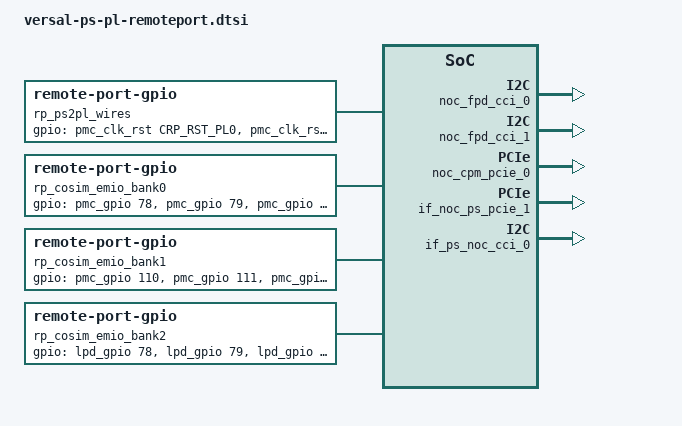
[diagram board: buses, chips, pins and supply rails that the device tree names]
/*
 * Versal PS PL interfaces.
 *
 * Copyright (C) 2016-2022, Xilinx, Inc.
 * Copyright (C) 2023, Advanced Micro Devices, Inc.
 * All rights reserved.
 *
 * Redistribution and use in source and binary forms, with or without
 * modification, are permitted provided that the following conditions are met:
 *     * Redistributions of source code must retain the above copyright
 *       notice, this list of conditions and the following disclaimer.
 *     * Redistributions in binary form must reproduce the above copyright
 *       notice, this list of conditions and the following disclaimer in the
 *       documentation and/or other materials provided with the distribution.
 *     * Neither the name of the <organization> nor the
 *       names of its contributors may be used to endorse or promote products
 *       derived from this software without specific prior written permission.
 *
 * THIS SOFTWARE IS PROVIDED BY THE COPYRIGHT HOLDERS AND CONTRIBUTORS "AS IS" AND
 * ANY EXPRESS OR IMPLIED WARRANTIES, INCLUDING, BUT NOT LIMITED TO, THE IMPLIED
 * WARRANTIES OF MERCHANTABILITY AND FITNESS FOR A PARTICULAR PURPOSE ARE
 * DISCLAIMED. IN NO EVENT SHALL <COPYRIGHT HOLDER> BE LIABLE FOR ANY
 * DIRECT, INDIRECT, INCIDENTAL, SPECIAL, EXEMPLARY, OR CONSEQUENTIAL DAMAGES
 * (INCLUDING, BUT NOT LIMITED TO, PROCUREMENT OF SUBSTITUTE GOODS OR SERVICES;
 * LOSS OF USE, DATA, OR PROFITS; OR BUSINESS INTERRUPTION) HOWEVER CAUSED AND
 * ON ANY THEORY OF LIABILITY, WHETHER IN CONTRACT, STRICT LIABILITY, OR TORT
 * (INCLUDING NEGLIGENCE OR OTHERWISE) ARISING IN ANY WAY OUT OF THE USE OF THIS
 * SOFTWARE, EVEN IF ADVISED OF THE POSSIBILITY OF SUCH DAMAGE.
 */

#include "versal.dtsh"

&pmc_tap {
	platform = <PLATFORM_QEMU_COSIM>;
};

&amba {
	cosim_rp_0: cosim@0 {
		compatible = "remote-port";
		sync = <1>;
		chrdev-id = "pl-rp";
	};

	/* This area can be used for implentation specific emulation */
	rp_cosim_reserved: rp_cosim_reserved@0{
		compatible = "remote-port-memory-master";
		remote-ports = <&cosim_rp_0 2>;
		reg = <0x0 0xF5F00000 0x0 0x100000 0>;
	};

	/* FIXME: These PL to PS ports are not fully implemented, we
	 *        need to apply SMMU translation. At least this
	 *        serves to roughly allocate the devids.
	 *        All still subject to change.
	 */
	s_axi_fpd: s_axi_fpd@0 {
		compatible = "remote-port-memory-slave";
		remote-ports = <&cosim_rp_0 10>;
		mr = <&smmu_tbu5>;
	};

	/* DevID 11 reserved for s_axi_gp_1.  */

	s_axi_gp_2: s_axi_gp_2@0 {
		compatible = "remote-port-memory-slave";
		remote-ports = <&cosim_rp_0 12>;
		mr = <&smmu_tbu5>;
	};

	s_axi_lpd: s_axi_lpd@0 {
		compatible = "remote-port-memory-slave";
		remote-ports = <&cosim_rp_0 14>;
		mr = <&smmu_tbu2>;
	};

	/* ACP via APU.  */
	s_acp_fpd: s_acp_fpd@0 {
		compatible = "remote-port-memory-slave";
		remote-ports = <&cosim_rp_0 15>;
		mr = <&amba>;
	};

	s_ace_fpd: s_ace_fpd@0 {
		compatible = "remote-port-memory-slave";
		remote-ports = <&cosim_rp_0 16>;
		mr = <&amba>;
	};

	noc_fpd_axi_0: noc_fpd_axi_0@0 {
		compatible = "remote-port-memory-slave";
		remote-ports = <&cosim_rp_0 17>;
		mr = <&smmu_tbu5>;
	};

	noc_fpd_axi_1: noc_fpd_axi_1@0 {
		compatible = "remote-port-memory-slave";
		remote-ports = <&cosim_rp_0 18>;
		mr = <&smmu_tbu4>;
	};

	noc_fpd_cci_0: noc_fpd_cci_0@0 {
		compatible = "remote-port-memory-slave";
		remote-ports = <&cosim_rp_0 19>;
		mr = <&smmu_tbu2>;
	};

	noc_fpd_cci_1: noc_fpd_cci_1@0 {
		compatible = "remote-port-memory-slave";
		remote-ports = <&cosim_rp_0 20>;
		mr = <&smmu_tbu2>;
	};

	noc_cpm_pcie_0: noc_cpm_pcie_0@0 {
		compatible = "remote-port-memory-slave";
		remote-ports = <&cosim_rp_0 21>;
		mr = <&amba>;
	};

	/* Does not exist */
	if_noc_ps_pcie_1: if_noc_ps_pcie_1@0 {
		compatible = "remote-port-memory-slave";
		remote-ports = <&cosim_rp_0 22>;
		mr = <&amba>;
	};

	noc_pmc_axi_0: noc_pmc_axi_0@0 {
		compatible = "remote-port-memory-slave";
		remote-ports = <&cosim_rp_0 23>;
		mr = <&amba_pmc>;
	};

	s_axi_xram: noc_pmc_axi_0@0 {
		compatible = "remote-port-memory-slave";
		remote-ports = <&cosim_rp_0 24>;
		mr = <&amba_xram>;
	};

	/* AXI ports directly from PS to PL, bypassing NoC.  */
	m_axi_fpd: m_axi_fpd@MM_TOP_FPD_AFI_0 {
		compatible = "remote-port-memory-master";
		remote-ports = <&cosim_rp_0 40>;
		reg = <0x0 MM_TOP_PS_PL_FPD_LowAddr0 0x0 MM_TOP_PS_PL_FPD_LowAddr0_SIZE 0x0
#ifdef MM_TOP_PS_PL_FPD_LowAddr1
		       0x0 MM_TOP_PS_PL_FPD_LowAddr1 0x0 MM_TOP_PS_PL_FPD_LowAddr1_SIZE 0x0
#endif
#ifdef MM_TOP_PS_PL_HighAddr0_L
		       MM_TOP_PS_PL_HighAddr0_H MM_TOP_PS_PL_HighAddr0_L MM_TOP_PS_PL_HighAddr0_SIZE_H MM_TOP_PS_PL_HighAddr0_SIZE_L 0x0
#endif
		       MM_TOP_PS_PL_HighAddr1_H MM_TOP_PS_PL_HighAddr1_L MM_TOP_PS_PL_HighAddr1_SIZE_H MM_TOP_PS_PL_HighAddr1_SIZE_L 0x0>;
		serbs-if = <&intfpd>;
	};

	/* Device ID 41 reserved for m_axi_gp1 in Extended PS.  */

	m_axi_lpd: m_axi_lpd@MM_TOP_LPD_AFI_FS {
		compatible = "remote-port-memory-master";
		remote-ports = <&cosim_rp_0 42>;
		reg = <0x0 MM_TOP_PS_PL_LPD_LowAddr 0x0 MM_TOP_PS_PL_LPD_LowAddr_SIZE 0x0>;
		serbs-if = <&intlpd>;
	};

	cci_mr: cci_mr@0 {
		#address-cells = <2>;
		#size-cells = <2>;
		#priority-cells = <1>;
		compatible = "simple-bus";

		/* IF_PS_NOC_CCI_0 - 3.  ID 50 - 53 */
		if_ps_noc_cci_0: if_ps_noc_cci_0@0 {
			compatible = "remote-port-memory-master";
			remote-ports = <&cosim_rp_0 50>;
			/*
			 * TODO: Verify this list.
			 * Since we don't yet have a model of the CCI, we'll only use PORT 0.
			 * The only ranges we know go on this port are DDR accesses and ME.
			 * Since DDR never goes over I/O (we do direct shared memory acceses)
			 * the only range that get's routed here is the ME.
			 */
			reg = <
				MM_TOP_ME_Programming_H MM_TOP_ME_Programming_L MM_TOP_ME_Programming_SIZE_H MM_TOP_ME_Programming_SIZE_L 0x1
#ifdef MM_TOP_Reserved_2
				0x0 MM_TOP_Reserved_2 0x0 MM_TOP_Reserved_2_SIZE 0x1
#endif
#ifdef MM_TOP_Reserved_3_L
				MM_TOP_Reserved_3_H MM_TOP_Reserved_3_L 0x0 MM_TOP_Reserved_3_SIZE 0x1
#endif
#ifdef MM_TOP_Reserved_4_L
				MM_TOP_Reserved_4_H MM_TOP_Reserved_4_L 0x0 MM_TOP_Reserved_4_SIZE 0x1
#endif
#ifdef MM_TOP_PCIe_region_1_L
				MM_TOP_PCIe_region_1_H MM_TOP_PCIe_region_1_L MM_TOP_PCIe_region_1_SIZE_H MM_TOP_PCIe_region_1_SIZE_L 0x1
#endif
#ifdef MM_TOP_Reserved_9_L
				MM_TOP_Reserved_9_H MM_TOP_Reserved_9_L MM_TOP_Reserved_9_SIZE_H MM_TOP_Reserved_9_SIZE_L 0x1
#endif
#ifdef MM_TOP_Reserved_10_L
				MM_TOP_Reserved_10_H MM_TOP_Reserved_10_L MM_TOP_Reserved_10_SIZE_H MM_TOP_Reserved_10_SIZE_L 0x1
#endif
#ifdef MM_TOP_PL_via_NoC_L
				MM_TOP_PL_via_NoC_H MM_TOP_PL_via_NoC_L MM_TOP_PL_via_NoC_SIZE_H MM_TOP_PL_via_NoC_SIZE_L 0x1
#endif

				0x0 MM_TOP_DDR 0x0 MM_TOP_DDR_SIZE 0x1
				MM_TOP_DDR_2_H MM_TOP_DDR_2_L MM_TOP_DDR_2_SIZE_H MM_TOP_DDR_2_SIZE_L 0x1
				MM_TOP_DDR_3_H MM_TOP_DDR_3_L MM_TOP_DDR_3_SIZE_H MM_TOP_DDR_3_SIZE_L 0x1
				MM_TOP_DDR_4_H MM_TOP_DDR_4_L MM_TOP_DDR_4_SIZE_H MM_TOP_DDR_4_SIZE_L 0x1
				MM_TOP_DDR_CH1_H MM_TOP_DDR_CH1_L MM_TOP_DDR_CH1_SIZE_H MM_TOP_DDR_CH1_SIZE_L 0x1
				MM_TOP_DDR_CH2_H MM_TOP_DDR_CH2_L MM_TOP_DDR_CH2_SIZE_H MM_TOP_DDR_CH2_SIZE_L 0x1
				MM_TOP_DDR_CH3_H MM_TOP_DDR_CH3_L MM_TOP_DDR_CH3_SIZE_H MM_TOP_DDR_CH3_SIZE_L 0x1
			      >;
		};
	};

	/* FPD_AXI_NOC_0 - 1.  ID 54 - 55 */
	/* CPM_PCIE_NOC_0 - 1. ID 56 - 57 */

	noc_lpd_axi_0: noc_lpd_axi_0@0 {
		compatible = "remote-port-memory-master";
		remote-ports = <&cosim_rp_0 58>;
	};

	/* PMC NPI. ID 60  This is allocated for NPI SystemC/RTL models.  */

	/* PL to PS interrupts.  */
	rp_pl2ps_irq: rp_pl2ps_irq@0 {
		compatible = "remote-port-gpio";
		remote-ports = <&cosim_rp_0 80>;
		num-gpios = <16>;
		interrupts = <PL_PS_GRP0_IRQ_0
			      PL_PS_GRP0_IRQ_1
			      PL_PS_GRP0_IRQ_2
			      PL_PS_GRP0_IRQ_3
			      PL_PS_GRP0_IRQ_4
			      PL_PS_GRP0_IRQ_5
			      PL_PS_GRP0_IRQ_6
			      PL_PS_GRP0_IRQ_7
			      PL_PS_GRP1_IRQ_0
			      PL_PS_GRP1_IRQ_1
			      PL_PS_GRP1_IRQ_2
			      PL_PS_GRP1_IRQ_3
			      PL_PS_GRP1_IRQ_4
			      PL_PS_GRP1_IRQ_5
			      PL_PS_GRP1_IRQ_6
			      PL_PS_GRP1_IRQ_7
			      >;
       };

	/* PS to PL interrupts. 81 */
	/* PL to PS wires. 82 */

	/* PS to PL wires. 83 */
	rp_ps2pl_wires: rp_ps2pl_wires@0 {
		compatible = "remote-port-gpio";
		remote-ports = <&cosim_rp_0 83>;
		num-gpios = <4>;
		gpios = < &pmc_clk_rst CRP_RST_PL0
			  &pmc_clk_rst CRP_RST_PL1
			  &pmc_clk_rst CRP_RST_PL2
			  &pmc_clk_rst CRP_RST_PL3
			>;
	};

	/*
	 * GPIO to EMIO:
	 *
	 * GPIO controllers has 3x 26-channels and 3x 32-channels banks.
	 *   - For PMC GPIO Bank3 and Bank4 goes to the PL (EMIO).
	 *	 * GPIO #78 is the first one to be mapped for EMIO0.
	 *	 * GPIO #252 is the first OE signal to be mapped for EMIO0.
	 *	 * GPIO #110 is the first one to be mapped for EMIO1.
	 *	 * GPIO #284 is the first OE signal to be mapped for EMIO1.
	 *   - For LPD GPIO Bank3 goes to the PL (EMIO).
	 *	 * GPIO #78 is the first one to be mapped for EMIO2.
	 *	 * GPIO #252 is the first OE signal to be mapped for EMIO2.
	 */
	rp_cosim_emio_bank0: rp_cosim_emio_bank0 {
		#gpio-cells = <1>;
		compatible = "remote-port-gpio";
		remote-ports = <&cosim_rp_0 95>;
		/* OE signals are taken in account here.  */
		num-gpios = <64>;
		gpios = < &pmc_gpio 78
			  &pmc_gpio 79
			  &pmc_gpio 80
			  &pmc_gpio 81
			  &pmc_gpio 82
			  &pmc_gpio 83
			  &pmc_gpio 84
			  &pmc_gpio 85
			  &pmc_gpio 86
			  &pmc_gpio 87
			  &pmc_gpio 88
			  &pmc_gpio 89
			  &pmc_gpio 90
			  &pmc_gpio 91
			  &pmc_gpio 92
			  &pmc_gpio 93
			  &pmc_gpio 94
			  &pmc_gpio 95
			  &pmc_gpio 96
			  &pmc_gpio 97
			  &pmc_gpio 98
			  &pmc_gpio 99
			  &pmc_gpio 100
			  &pmc_gpio 101
			  &pmc_gpio 102
			  &pmc_gpio 103
			  &pmc_gpio 104
			  &pmc_gpio 105
			  &pmc_gpio 106
			  &pmc_gpio 107
			  &pmc_gpio 108
			  &pmc_gpio 109
			  /* OE signals.  */
			  &pmc_gpio 252
			  &pmc_gpio 253
			  &pmc_gpio 254
			  &pmc_gpio 255
			  &pmc_gpio 256
			  &pmc_gpio 257
			  &pmc_gpio 258
			  &pmc_gpio 259
			  &pmc_gpio 260
			  &pmc_gpio 261
			  &pmc_gpio 262
			  &pmc_gpio 263
			  &pmc_gpio 264
			  &pmc_gpio 265
			  &pmc_gpio 266
			  &pmc_gpio 267
			  &pmc_gpio 268
			  &pmc_gpio 269
			  &pmc_gpio 270
			  &pmc_gpio 271
			  &pmc_gpio 272
			  &pmc_gpio 273
			  &pmc_gpio 274
			  &pmc_gpio 275
			  &pmc_gpio 276
			  &pmc_gpio 277
			  &pmc_gpio 278
			  &pmc_gpio 279
			  &pmc_gpio 280
			  &pmc_gpio 281
			  &pmc_gpio 282
			  &pmc_gpio 283
			  >;
		};

	rp_cosim_emio_bank1: rp_cosim_emio_bank1 {
		#gpio-cells = <1>;
		compatible = "remote-port-gpio";
		remote-ports = <&cosim_rp_0 96>;
		/* OE signals are taken in account here.  */
		num-gpios = <64>;
		gpios = < &pmc_gpio 110
			  &pmc_gpio 111
			  &pmc_gpio 112
			  &pmc_gpio 113
			  &pmc_gpio 114
			  &pmc_gpio 115
			  &pmc_gpio 116
			  &pmc_gpio 117
			  &pmc_gpio 118
			  &pmc_gpio 119
			  &pmc_gpio 120
			  &pmc_gpio 121
			  &pmc_gpio 122
			  &pmc_gpio 123
			  &pmc_gpio 124
			  &pmc_gpio 125
			  &pmc_gpio 126
			  &pmc_gpio 127
			  &pmc_gpio 128
			  &pmc_gpio 129
			  &pmc_gpio 130
			  &pmc_gpio 131
			  &pmc_gpio 132
			  &pmc_gpio 133
			  &pmc_gpio 134
			  &pmc_gpio 135
			  &pmc_gpio 136
			  &pmc_gpio 137
			  &pmc_gpio 138
			  &pmc_gpio 139
			  &pmc_gpio 140
			  &pmc_gpio 141
			  /* OE signals.  */
			  &pmc_gpio 284
			  &pmc_gpio 285
			  &pmc_gpio 286
			  &pmc_gpio 287
			  &pmc_gpio 288
			  &pmc_gpio 289
			  &pmc_gpio 290
			  &pmc_gpio 291
			  &pmc_gpio 292
			  &pmc_gpio 293
			  &pmc_gpio 294
			  &pmc_gpio 295
			  &pmc_gpio 296
			  &pmc_gpio 297
			  &pmc_gpio 298
			  &pmc_gpio 299
			  &pmc_gpio 300
			  &pmc_gpio 301
			  &pmc_gpio 302
			  &pmc_gpio 303
			  &pmc_gpio 304
			  &pmc_gpio 305
			  &pmc_gpio 306
			  &pmc_gpio 307
			  &pmc_gpio 308
			  &pmc_gpio 309
			  &pmc_gpio 310
			  &pmc_gpio 311
			  &pmc_gpio 312
			  &pmc_gpio 313
			  &pmc_gpio 314
			  &pmc_gpio 315
			  >;
		};

	rp_cosim_emio_bank2: rp_cosim_emio_bank2 {
		#gpio-cells = <1>;
		compatible = "remote-port-gpio";
		remote-ports = <&cosim_rp_0 97>;
		/* OE signals are taken in account here.  */
		num-gpios = <64>;
		gpios = < &lpd_gpio 78
			  &lpd_gpio 79
			  &lpd_gpio 80
			  &lpd_gpio 81
			  &lpd_gpio 82
			  &lpd_gpio 83
			  &lpd_gpio 84
			  &lpd_gpio 85
			  &lpd_gpio 86
			  &lpd_gpio 87
			  &lpd_gpio 88
			  &lpd_gpio 89
			  &lpd_gpio 90
			  &lpd_gpio 91
			  &lpd_gpio 92
			  &lpd_gpio 93
			  &lpd_gpio 94
			  &lpd_gpio 95
			  &lpd_gpio 96
			  &lpd_gpio 97
			  &lpd_gpio 98
			  &lpd_gpio 99
			  &lpd_gpio 100
			  &lpd_gpio 101
			  &lpd_gpio 102
			  &lpd_gpio 103
			  &lpd_gpio 104
			  &lpd_gpio 105
			  &lpd_gpio 106
			  &lpd_gpio 107
			  &lpd_gpio 108
			  &lpd_gpio 109
			  /* OE signals.  */
			  &lpd_gpio 252
			  &lpd_gpio 253
			  &lpd_gpio 254
			  &lpd_gpio 255
			  &lpd_gpio 256
			  &lpd_gpio 257
			  &lpd_gpio 258
			  &lpd_gpio 259
			  &lpd_gpio 260
			  &lpd_gpio 261
			  &lpd_gpio 262
			  &lpd_gpio 263
			  &lpd_gpio 264
			  &lpd_gpio 265
			  &lpd_gpio 266
			  &lpd_gpio 267
			  &lpd_gpio 268
			  &lpd_gpio 269
			  &lpd_gpio 270
			  &lpd_gpio 271
			  &lpd_gpio 272
			  &lpd_gpio 273
			  &lpd_gpio 274
			  &lpd_gpio 275
			  &lpd_gpio 276
			  &lpd_gpio 277
			  &lpd_gpio 278
			  &lpd_gpio 279
			  &lpd_gpio 280
			  &lpd_gpio 281
			  &lpd_gpio 282
			  &lpd_gpio 283
			  >;
		};
		rp_npi_irq: rp_npi_irq {
			#gpio-cell = <1>;
			compatible = "remote-port-gpio";
			remote-ports = <&cosim_rp_0 98>;
			num-gpios = <12>;
			interrupts = <  NPI_IRQ_IRQ_0
					NPI_IRQ_IRQ_1
					NPI_IRQ_IRQ_2
					NPI_IRQ_IRQ_3
					NPI_IRQ_IRQ_4
					NPI_IRQ_IRQ_5
					NPI_IRQ_IRQ_6
					NPI_IRQ_IRQ_7
					NPI_IRQ_IRQ_8
					NPI_IRQ_IRQ_9
					NPI_IRQ_IRQ_10
					NPI_IRQ_IRQ_11
			>;
		};
		dummy_mio_map: dummy_mio_map {
			gpio-controller;
			#gpio-cells = <1>;
		};
};

#define MIO(dev)				\
			  dev  0 		\
			  dev  1 		\
			  dev  2 		\
			  dev  3 		\
			  dev  4 		\
			  dev  5 		\
			  dev  6 		\
			  dev  7 		\
			  dev  8 		\
			  dev  9 		\
			  dev  10		\
			  dev  11		\
			  dev  12		\
			  dev  13		\
			  dev  14		\
			  dev  15		\
			  dev  16		\
			  dev  17		\
			  dev  18		\
			  dev  19		\
			  dev  20		\
			  dev  21		\
			  dev  22		\
			  dev  23		\
			  dev  24		\
			  dev  25

#define RP_EMIO(dev)				\
			  dev  0 		\
			  dev  1 		\
			  dev  2 		\
			  dev  3 		\
			  dev  4 		\
			  dev  5 		\
			  dev  6 		\
			  dev  7 		\
			  dev  8 		\
			  dev  9 		\
			  dev  10		\
			  dev  11		\
			  dev  12		\
			  dev  13		\
			  dev  14		\
			  dev  15		\
			  dev  16		\
			  dev  17		\
			  dev  18		\
			  dev  19		\
			  dev  20		\
			  dev  21		\
			  dev  22		\
			  dev  23		\
			  dev  24		\
			  dev  25		\
			  dev  26		\
			  dev  27		\
			  dev  28		\
			  dev  29		\
			  dev  30		\
			  dev  31

/* EMIO0, EMIO1 inputs.  */
&pmc_gpio {
	gpios = <
		/* Connect gpio in's for MIO mapped banks, tie them with dummy
		 * model until we model MIO.  */
		MIO(&dummy_mio_map)
		MIO(&dummy_mio_map)
		MIO(&dummy_mio_map)
		/* Connect gpio in's from EMIO bank 0,1.  */
		RP_EMIO(&rp_cosim_emio_bank0)
		RP_EMIO(&rp_cosim_emio_bank1)
	>;
};

/* EMIO2 inputs.  */
&lpd_gpio {
	gpios = <
		/* Connect gpio in's for MIO mapped banks, tie them with dummy
		 * model until we model MIO.  */
		MIO(&dummy_mio_map)
		MIO(&dummy_mio_map)
		MIO(&dummy_mio_map)
		/* Connect gpio in's from EMIO bank 2.  */
		RP_EMIO(&rp_cosim_emio_bank2)
	>;
};

#undef MIO
#undef RP_EMIO

&amba {
	MR_BACKGROUND(cci_mr);
};

&amba_pmc_internal {
	/* IF_PMC_NOC_AXI_0.
	 *
	 * Traffic originating from the PMC targeting this list
	 * of address ranges will go out on this dedicated port from
	 * the PMC to the NoC.
	 */
	pmc_noc_axi_0: pmc_noc_axi_0@0 {
		compatible = "remote-port-memory-master";
		remote-ports = <&cosim_rp_0 59>;
		reg = <
#ifdef MM_TOP_Reserved_2
			 0x0 MM_TOP_Reserved_2 0x0 MM_TOP_Reserved_2_SIZE 0x1
#endif
			 MM_TOP_PMC_alias_region_0_H MM_TOP_PMC_alias_region_0_L 0x0 MM_TOP_PMC_alias_region_0_SIZE 0x1
			 MM_TOP_PMC_alias_region_1_H MM_TOP_PMC_alias_region_1_L 0x0 MM_TOP_PMC_alias_region_1_SIZE 0x1
			 MM_TOP_PMC_alias_region_2_H MM_TOP_PMC_alias_region_2_L 0x0 MM_TOP_PMC_alias_region_2_SIZE 0x1
			 MM_TOP_PMC_alias_region_3_H MM_TOP_PMC_alias_region_3_L 0x0 MM_TOP_PMC_alias_region_3_SIZE 0x1
#ifdef MM_TOP_Reserved_3_L
			 MM_TOP_Reserved_3_H MM_TOP_Reserved_3_L 0x0 MM_TOP_Reserved_3_SIZE 0x1
#endif
			 MM_TOP_ME_Programming_H MM_TOP_ME_Programming_L MM_TOP_ME_Programming_SIZE_H MM_TOP_ME_Programming_SIZE_L 0x1
#ifdef MM_TOP_Reserved_4_L
			 MM_TOP_Reserved_4_H MM_TOP_Reserved_4_L 0x0 MM_TOP_Reserved_4_SIZE 0x1
#endif
#ifdef MM_TOP_PCIe_region_1_L
			 MM_TOP_PCIe_region_1_H MM_TOP_PCIe_region_1_L MM_TOP_PCIe_region_1_SIZE_H MM_TOP_PCIe_region_1_SIZE_L 0x1
#endif
#ifdef MM_TOP_Reserved_9_H
			 MM_TOP_Reserved_9_H MM_TOP_Reserved_9_L MM_TOP_Reserved_9_SIZE_H MM_TOP_Reserved_9_SIZE_L 0x1
#endif
#ifdef MM_TOP_Reserved_10_L
			 MM_TOP_Reserved_10_H MM_TOP_Reserved_10_L MM_TOP_Reserved_10_SIZE_H MM_TOP_Reserved_10_SIZE_L 0x1
#endif
#ifdef MM_TOP_PL_via_NoC_L
			 MM_TOP_PL_via_NoC_H MM_TOP_PL_via_NoC_L MM_TOP_PL_via_NoC_SIZE_H MM_TOP_PL_via_NoC_SIZE_L 0x1
#endif
			>;
	};
};

&amba_fpd {
	intfpd: intfpd@MM_FPD_INTFPD_CONFIG {
		afifs-serbs = <&m_axi_fpd>;
	};
};
&amba_lpd {
	intlpd: intlpd@MM_INTLPD_CONFIG {
		afifs-serbs = <&m_axi_lpd>;
	};
};
